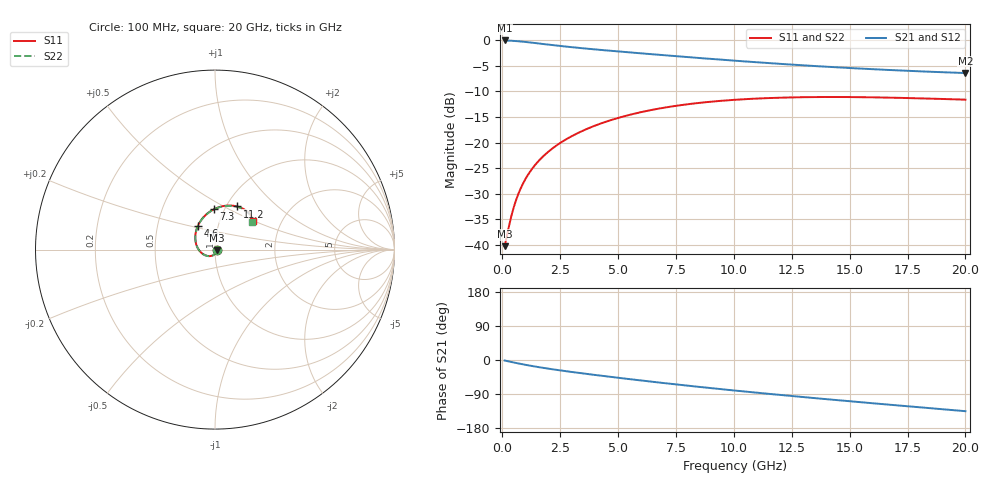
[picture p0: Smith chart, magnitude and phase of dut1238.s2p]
! Touchstone file exported from HFSS 2024.1.0
!  File:  C:/UserFiles/LocalFiles/RDL_TSV_Batchsim/temp_RDL_TSV_1238_1780266565.aedt
!  Generated:  06:42:57 AM Jun  1, 2026
!  Design:  RDL_TSV
!  Project:  temp_RDL_TSV_1238_1780266565
!  Setup:  Setup1
!  Solution:  Sweep
! Variables:
!  dtsv = 14.82um
!  hbump = 3um
!  htsv = 62.84um
!  ldown = 341.18um
!  lrdl = 175.44um
!  p = 40
!  p1 = 47.58um
!  rhole = 10um
!  subl = 1725.3um
!  t = 450um
!  tdown = 3.31um
!  trdl = 3.56um
!  viad = 10um
!  wdown = 26.03um
!  wrdl = 17.65um
!  xbump = 18um
# GHz S MA R 50.000000
! Terminal data exported
! Port[1] = TM1_1_T1
! Port[2] = TM1_4_T1
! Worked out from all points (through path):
!   200 points, 100 MHz to 20 GHz, reference 50 ohm
!   highest |S21| = -0.08 dB at 100 MHz (marker M1); lowest = -6.4 dB at 20 GHz (marker M2)
!   group delay of S21, straight-line fit = 17.7 ps
!   lowest |S11| = -40.2 dB at 100 MHz (marker M3), VSWR 1.02, Z = 50.9 - j0.481 ohm
!   |S11| at or under -10 dB: start of sweep to end of sweep
!   |S22| runs from -40.2 to -11.2 dB; largest |S21 - S12| = 1.3e-14
!   S11 on the Smith chart (normalised r, x): 100 MHz: 1.02, -0.01; 4.6 GHz: 0.80, +0.22; 7.3 GHz: 0.89, +0.42; 11.2 GHz: 1.12, +0.58; 20 GHz: 1.43, +0.48
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0.1  0.009731 -29.1  0.9907 -1.4  0.9907 -1.4  0.009732 -29.1
! Gamma 0 0 0 0
! Port Impedance 50 0 50 0
0.3  0.01567 -67.6  0.9869 -4.1  0.9869 -4.1  0.01568 -67.6
0.4  0.0195 -79.9  0.9841 -5.4  0.9841 -5.4  0.0195 -79.9
0.6  0.02762 -98.5  0.9769 -7.9  0.9769 -7.9  0.02763 -98.4
0.7  0.03175 -106.0  0.9727 -9.2  0.9727 -9.2  0.03175 -106.0
0.9  0.03995 -119.2  0.9633 -11.6  0.9633 -11.6  0.03995 -119.2
1.2  0.05195 -136.0  0.9473 -15.0  0.9473 -15.0  0.05193 -135.9
1.6  0.06723 -154.7  0.9244 -19.2  0.9244 -19.2  0.06717 -154.6
2.1  0.08524 -174.1  0.8963 -23.9  0.8963 -23.9  0.08512 -174.0
2.7  0.1056 167.0  0.8656 -29.1  0.8656 -29.1  0.1054 167.1
3.5  0.131 146.9  0.8301 -35.6  0.8301 -35.6  0.1306 147.0
4.6  0.1629 126.0  0.7882 -43.9  0.7882 -43.9  0.1624 126.0
5.6  0.1887 111.2  0.7543 -51.2  0.7543 -51.2  0.1879 111.2
6.8  0.215 96.9  0.7166 -59.7  0.7166 -59.7  0.2141 97.0
7.3  0.2244 91.9  0.7018 -63.0  0.7018 -63.0  0.2234 91.9
8.6  0.2449 80.4  0.6653 -71.6  0.6653 -71.6  0.2437 80.4
10.1  0.2616 69.7  0.6273 -81.0  0.6273 -81.0  0.2603 69.6
11.2  0.2697 63.1  0.6022 -87.5  0.6022 -87.5  0.2683 63.1
13.4  0.2775 52.6  0.5591 -100.1  0.5591 -100.1  0.276 52.6
15  0.2776 46.8  0.5333 -108.8  0.5333 -108.8  0.276 46.8
16.7  0.2741 42.1  0.5102 -117.9  0.5102 -117.9  0.2725 42.0
20  0.262 36.8  0.4762 -135.1  0.4762 -135.1  0.2603 36.8
